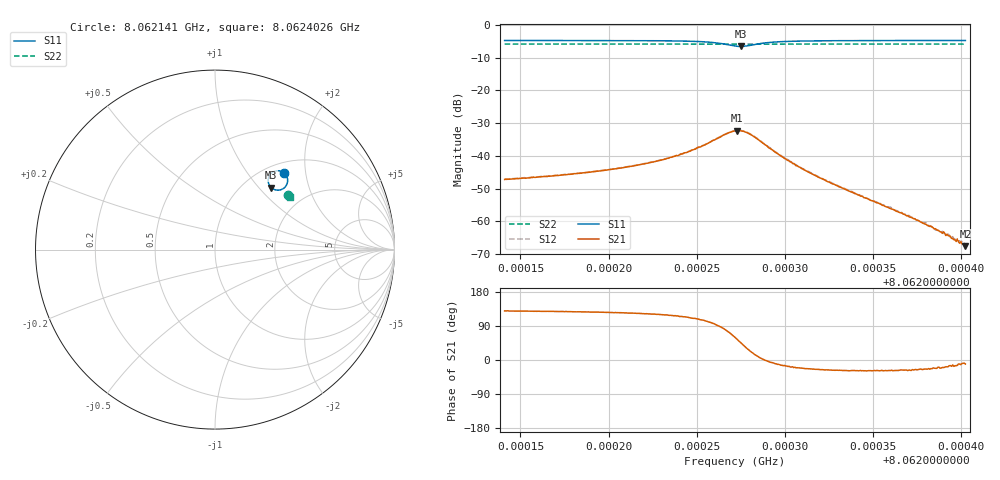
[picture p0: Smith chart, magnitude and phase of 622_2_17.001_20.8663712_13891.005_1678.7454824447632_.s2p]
#  HZ  S  RI  R  50.00
! Rohde & Schwarz Vector Network Analyzer
! Rohde-Schwarz,ZNB20-2Port,1311601062101988,3.16
! Created: UTC 3/20/2024, 11:19:59 PM
! freq[Hz]  re:S11  im:S11  re:S21  im:S21  re:S12  im:S12  re:S22  im:S22
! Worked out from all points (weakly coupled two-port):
!   401 points, 8.062141 GHz to 8.0624026 GHz, reference 50 ohm
!   highest |S21| = -32.27 dB at 8.0622731 GHz (marker M1); lowest = -67.5 dB at 8.0624026 GHz (marker M2)
!   lowest |S11| = -6.6 dB at 8.062275 GHz (marker M3), VSWR 2.75, Z = 66.1 + j58.4 ohm
!   |S11| at or under -10 dB: nowhere
!   |S22| runs from -6.0 to -5.9 dB; largest |S21 - S12| = 0.0014
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8.06214099e9  0.3871 0.4262  -0.00278 0.00337  -0.00262 0.00357  0.4071 0.3038
8.0621848e9  0.3926 0.4199  -0.00328 0.00437  -0.00306 0.00458  0.4089 0.3014
8.06220638e9  0.3962 0.4147  -0.00373 0.00534  -0.00342 0.00557  0.4096 0.3
8.06222862e9  0.4012 0.405  -0.00426 0.00733  -0.00385 0.00762  0.4103 0.2985
8.06224562e9  0.4048 0.3885  -0.00438 0.0108  -0.00374 0.0112  0.4108 0.2969
8.0622587e9  0.3988 0.3605  -0.00226 0.0167  -0.00136 0.0168  0.4107 0.2951
8.06226655e9  0.3731 0.336  0.0041 0.0212  0.00526 0.021  0.4096 0.2941
8.06227178e9  0.3366 0.3327  0.0121 0.0209  0.0132 0.0203  0.408 0.2942
8.06227308e9  0.3264 0.3365  0.0143 0.0197  0.0154 0.0191  0.4077 0.2943
8.06227505e9  0.3129 0.3459  0.0169 0.0173  0.018 0.0165  0.4074 0.2948
8.06228093e9  0.2961 0.3879  0.0195 0.00771  0.0202 0.00656  0.4074 0.2967
8.06229009e9  0.3172 0.4281  0.014 -0.000693  0.0141 -0.00146  0.4091 0.2976
8.0622999e9  0.3399 0.4386  0.00883 -0.00228  0.0089 -0.00287  0.4106 0.2974
8.06231559e9  0.3593 0.4388  0.00483 -0.00214  0.00474 -0.00244  0.4118 0.2964
8.06234044e9  0.3725 0.4351  0.00232 -0.00125  0.00224 -0.00137  0.4134 0.2947
8.06235941e9  0.3779 0.4324  0.00141 -0.000737  0.0014 -0.000854  0.4141 0.2937
8.06237902e9  0.3817 0.4301  0.000849 -0.000382  0.000845 -0.000425  0.4148 0.2926
8.06238426e9  0.3827 0.4295  0.000749 -0.000284  0.000712 -0.000352  0.4152 0.2924
8.06239407e9  0.3841 0.4286  0.000573 -0.00015  0.000533 -0.000207  0.4154 0.2918
8.06239734e9  0.3845 0.4282  0.000477 -0.000129  0.000472 -0.000171  0.4154 0.2916
8.06240061e9  0.385 0.4279  0.000448 -7.23e-05  0.000474 -0.000141  0.4156 0.2914
8.06240257e9  0.3851 0.4278  0.000417 -7.79e-05  0.000415 -6.57e-05  0.4157 0.2913
